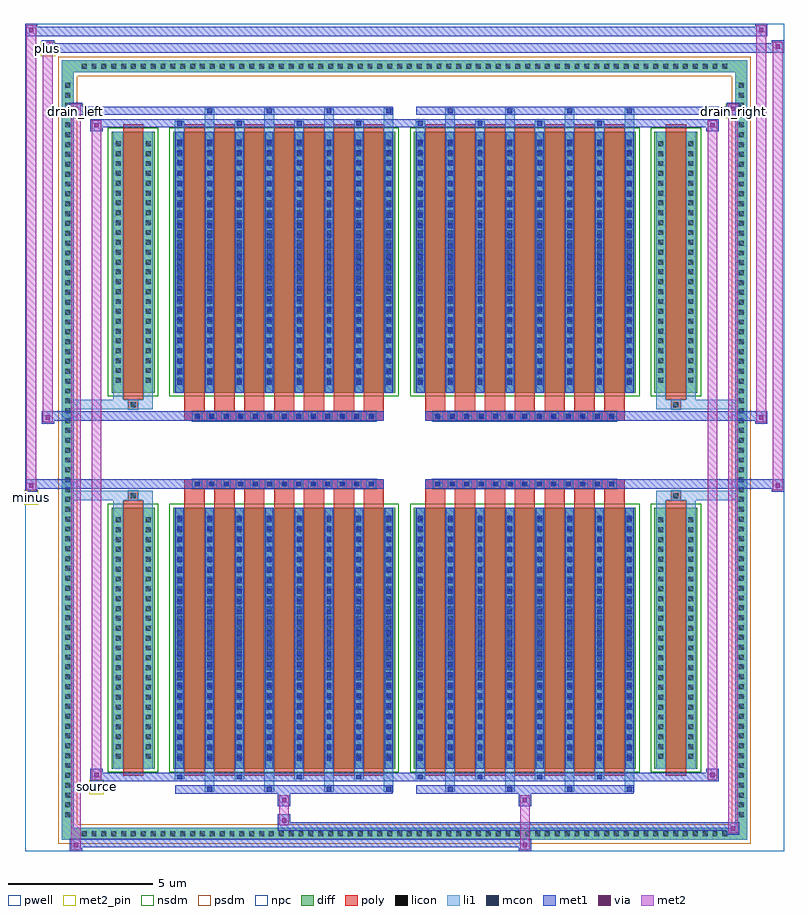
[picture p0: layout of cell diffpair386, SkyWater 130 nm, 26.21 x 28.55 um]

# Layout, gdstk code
import gdstk
lib = gdstk.Library(unit=1e-6, precision=5e-09)
def R(c, l, rs):  # rectangles x0, y0, x1, y1
    for r in rs: c.add(gdstk.rectangle(r[:2], r[2:], *l))
def A(c, l, x, y, w, h, nx, ny, dx, dy):  # array of equal rectangles
    R(c, l, [(x+i*dx, y+j*dy, x+i*dx+w, y+j*dy+h) for i in range(nx) for j in range(ny)])
def P(c, l, *ps):  # polygons
    for p in ps: c.add(gdstk.Polygon(p, *l))
pwell = (64, 44)
diff = (65, 20)
poly = (66, 20)
licon = (66, 44)
li1 = (67, 20)
mcon = (67, 44)
met1 = (68, 20)
via = (68, 44)
met2_pin = (69, 16)
met2 = (69, 20)
nsdm = (93, 44)
psdm = (94, 20)
npc = (95, 20)

diffpair386 = lib.new_cell('diffpair386')
R(diffpair386, pwell, [(-13.09,-13.84,13.09,14.71), (-10.41,-12.03,-0.01,-0.805), (0.01,-12.03,10.41,-0.805), (-10.41,0.805,-0.01,12.03), (0.01,0.805,10.41,12.03)])
A(diffpair386, diff, -11.255, -13.44, 0.41, 0.41, 66, 2, 0.34, 26.47)
A(diffpair386, diff, -11.82, -12.785, 0.41, 0.41, 1, 75, 0, 0.34)
A(diffpair386, diff, 11.41, -12.785, 0.41, 0.41, 1, 75, 0, 0.34)
R(diffpair386, diff, [(-11.255,-13.44,11.255,-13.03), (-11.82,-12.785,-11.41,12.785), (11.41,-12.785,11.82,12.785), (-10.1,-10.985,-8.62,-1.985), (-7.98,-10.985,-0.32,-1.985), (0.32,-10.985,7.98,-1.985), (8.62,-10.985,10.1,-1.985), (-10.1,1.985,-8.62,10.985), (-7.98,1.985,-0.32,10.985), (0.32,1.985,7.98,10.985), (8.62,1.985,10.1,10.985), (-11.255,13.03,11.255,13.44)])
P(diffpair386, diff, [(11.82,13.44),(-11.82,13.44),(-11.82,-13.03),(-11.41,-13.03),(-11.41,13.03),(11.41,13.03),(11.41,-13.03),(-11.41,-13.03),(-11.82,-13.03),(-11.82,-13.44),(11.82,-13.44)])
A(diffpair386, poly, -7.59, -11.235, 0.7, 9.5, 7, 2, 1.03, 12.97)
A(diffpair386, poly, 0.71, -11.235, 0.7, 9.5, 7, 2, 1.03, 12.97)
A(diffpair386, poly, -7.59, -1.735, 0.7, 0.4, 7, 2, 1.03, 3.07)
A(diffpair386, poly, 0.71, -1.735, 0.7, 0.4, 7, 2, 1.03, 3.07)
A(diffpair386, poly, -7.315, -1.335, 0.33, 0.33, 13, 2, 0.5, 2.34)
A(diffpair386, poly, 0.985, -1.335, 0.33, 0.33, 13, 2, 0.5, 2.34)
R(diffpair386, poly, [(-9.71,-11.235,-9.01,-1.735), (9.01,-11.235,9.71,-1.735), (-9.525,-1.735,-9.195,-1.405), (-9.525,-1.735,-9.195,-1.405), (9.195,-1.735,9.525,-1.405), (9.195,-1.735,9.525,-1.405), (-7.59,-1.335,-0.71,-1.005), (0.71,-1.335,7.59,-1.005), (-7.59,1.005,-0.71,1.335), (0.71,1.005,7.59,1.335), (-9.525,1.405,-9.195,1.735), (-9.525,1.405,-9.195,1.735), (9.195,1.405,9.525,1.735), (9.195,1.405,9.525,1.735), (-9.71,1.735,-9.01,11.235), (9.01,1.735,9.71,11.235)])
A(diffpair386, licon, -11.135, -13.32, 0.17, 0.17, 66, 2, 0.34, 26.47)
A(diffpair386, licon, -11.7, -12.665, 0.17, 0.17, 1, 75, 0, 0.34)
A(diffpair386, licon, 11.53, -12.665, 0.17, 0.17, 1, 75, 0, 0.34)
A(diffpair386, licon, -9.96, -10.65, 0.17, 0.17, 1, 25, 0, 0.34)
A(diffpair386, licon, -8.93, -10.65, 0.17, 0.17, 1, 25, 0, 0.34)
A(diffpair386, licon, -7.84, -10.65, 0.17, 0.17, 8, 25, 1.03, 0.34)
A(diffpair386, licon, 0.46, -10.65, 0.17, 0.17, 8, 25, 1.03, 0.34)
A(diffpair386, licon, 8.76, -10.65, 0.17, 0.17, 1, 25, 0, 0.34)
A(diffpair386, licon, 9.79, -10.65, 0.17, 0.17, 1, 25, 0, 0.34)
A(diffpair386, licon, -7.235, -1.255, 0.17, 0.17, 13, 2, 0.5, 2.34)
A(diffpair386, licon, 1.065, -1.255, 0.17, 0.17, 13, 2, 0.5, 2.34)
A(diffpair386, licon, -9.96, 2.32, 0.17, 0.17, 1, 25, 0, 0.34)
A(diffpair386, licon, -8.93, 2.32, 0.17, 0.17, 1, 25, 0, 0.34)
A(diffpair386, licon, -7.84, 2.32, 0.17, 0.17, 8, 25, 1.03, 0.34)
A(diffpair386, licon, 0.46, 2.32, 0.17, 0.17, 8, 25, 1.03, 0.34)
A(diffpair386, licon, 8.76, 2.32, 0.17, 0.17, 1, 25, 0, 0.34)
A(diffpair386, licon, 9.79, 2.32, 0.17, 0.17, 1, 25, 0, 0.34)
R(diffpair386, licon, [(-9.445,-1.655,-9.275,-1.485), (9.275,-1.655,9.445,-1.485), (-9.445,1.485,-9.275,1.655), (9.275,1.485,9.445,1.655)])
A(diffpair386, li1, -11.215, -13.4, 0.33, 0.33, 66, 2, 0.34, 26.47)
A(diffpair386, li1, -11.78, -12.745, 0.33, 0.33, 1, 75, 0, 0.34)
A(diffpair386, li1, 11.45, -12.745, 0.33, 0.33, 1, 75, 0, 0.34)
A(diffpair386, li1, -6.89, -11.79, 0.33, 0.805, 4, 2, 2.06, 22.775)
A(diffpair386, li1, -6.81, -11.79, 0.17, 0.17, 4, 2, 2.06, 23.41)
A(diffpair386, li1, 1.41, -11.79, 0.33, 0.805, 4, 2, 2.06, 22.775)
A(diffpair386, li1, 1.49, -11.79, 0.17, 0.17, 4, 2, 2.06, 23.41)
A(diffpair386, li1, -7.92, -11.36, 0.33, 0.375, 4, 2, 2.06, 22.345)
A(diffpair386, li1, -7.84, -11.36, 0.17, 0.17, 4, 2, 2.06, 22.55)
A(diffpair386, li1, 0.38, -11.36, 0.33, 0.375, 4, 2, 2.06, 22.345)
A(diffpair386, li1, 0.46, -11.36, 0.17, 0.17, 4, 2, 2.06, 22.55)
A(diffpair386, li1, -7.92, -10.985, 0.33, 9, 8, 2, 1.03, 12.97)
A(diffpair386, li1, 0.38, -10.985, 0.33, 9, 8, 2, 1.03, 12.97)
A(diffpair386, li1, -10.04, -10.73, 0.33, 0.33, 1, 25, 0, 0.34)
A(diffpair386, li1, -9.01, -10.73, 0.33, 0.33, 1, 25, 0, 0.34)
A(diffpair386, li1, -7.92, -10.73, 0.33, 0.33, 8, 25, 1.03, 0.34)
A(diffpair386, li1, 0.38, -10.73, 0.33, 0.33, 8, 25, 1.03, 0.34)
A(diffpair386, li1, 8.68, -10.73, 0.33, 0.33, 1, 25, 0, 0.34)
A(diffpair386, li1, 9.71, -10.73, 0.33, 0.33, 1, 25, 0, 0.34)
A(diffpair386, li1, -7.84, -10.71, 0.17, 0.17, 8, 24, 1.03, 0.36)
A(diffpair386, li1, -7.84, -10.71, 0.17, 8.45, 8, 2, 1.03, 12.97)
A(diffpair386, li1, 0.46, -10.71, 0.17, 0.17, 8, 24, 1.03, 0.36)
A(diffpair386, li1, 0.46, -10.71, 0.17, 8.45, 8, 2, 1.03, 12.97)
A(diffpair386, li1, -7.315, -1.335, 0.33, 0.33, 13, 2, 0.5, 2.34)
A(diffpair386, li1, 0.985, -1.335, 0.33, 0.33, 13, 2, 0.5, 2.34)
A(diffpair386, li1, -10.04, 2.24, 0.33, 0.33, 1, 25, 0, 0.34)
A(diffpair386, li1, -9.01, 2.24, 0.33, 0.33, 1, 25, 0, 0.34)
A(diffpair386, li1, -7.92, 2.24, 0.33, 0.33, 8, 25, 1.03, 0.34)
A(diffpair386, li1, 0.38, 2.24, 0.33, 0.33, 8, 25, 1.03, 0.34)
A(diffpair386, li1, 8.68, 2.24, 0.33, 0.33, 1, 25, 0, 0.34)
A(diffpair386, li1, 9.71, 2.24, 0.33, 0.33, 1, 25, 0, 0.34)
A(diffpair386, li1, -7.84, 2.26, 0.17, 0.17, 8, 24, 1.03, 0.36)
A(diffpair386, li1, 0.46, 2.26, 0.17, 0.17, 8, 24, 1.03, 0.36)
R(diffpair386, li1, [(-11.82,-13.44,-11.41,-13.03), (-11.82,-13.44,-11.41,-13.03), (-11.41,-13.44,11.41,-13.03), (11.41,-13.44,11.82,-13.03), (11.41,-13.44,11.82,-13.03), (-11.82,-13.03,-11.41,13.03), (11.41,-13.03,11.82,13.03), (-10.04,-10.985,-9.71,-1.985), (-9.01,-10.985,-8.68,-1.985), (8.68,-10.985,9.01,-1.985), (9.71,-10.985,10.04,-1.985), (-10.04,-1.985,-9.71,-1.405), (-9.01,-1.985,-8.68,-1.405), (8.68,-1.985,9.01,-1.405), (9.71,-1.985,10.04,-1.405), (-11.82,-1.735,-9.525,-1.405), (-10.04,-1.735,-9.525,-1.405), (-9.525,-1.735,-9.195,-1.405), (-9.195,-1.735,-8.68,-1.405), (8.68,-1.735,9.195,-1.405), (9.195,-1.735,9.525,-1.405), (9.195,-1.735,11.82,-1.405), (9.525,-1.735,10.04,-1.405), (-11.82,1.405,-9.525,1.735), (-10.04,1.405,-9.525,1.735), (-10.04,1.405,-9.71,1.985), (-9.525,1.405,-9.195,1.735), (-9.195,1.405,-8.68,1.735), (-9.01,1.405,-8.68,1.985), (8.68,1.405,9.195,1.735), (8.68,1.405,9.01,1.985), (9.195,1.405,9.525,1.735), (9.195,1.405,11.82,1.735), (9.525,1.405,10.04,1.735), (9.71,1.405,10.04,1.985), (-10.04,1.985,-9.71,10.985), (-9.01,1.985,-8.68,10.985), (8.68,1.985,9.01,10.985), (9.71,1.985,10.04,10.985), (-11.82,13.03,-11.41,13.44), (-11.82,13.03,-11.41,13.44), (-11.41,13.03,11.41,13.44), (11.41,13.03,11.82,13.44), (11.41,13.03,11.82,13.44)])
A(diffpair386, mcon, -6.81, -11.79, 0.17, 0.17, 4, 2, 2.06, 23.41)
A(diffpair386, mcon, 1.49, -11.79, 0.17, 0.17, 4, 2, 2.06, 23.41)
A(diffpair386, mcon, -7.84, -11.36, 0.17, 0.17, 4, 2, 2.06, 22.55)
A(diffpair386, mcon, 0.46, -11.36, 0.17, 0.17, 4, 2, 2.06, 22.55)
A(diffpair386, mcon, -7.84, -10.71, 0.17, 0.17, 8, 24, 1.03, 0.36)
A(diffpair386, mcon, 0.46, -10.71, 0.17, 0.17, 8, 24, 1.03, 0.36)
A(diffpair386, mcon, -7.235, -1.255, 0.17, 0.17, 13, 2, 0.5, 2.34)
A(diffpair386, mcon, 1.065, -1.255, 0.17, 0.17, 13, 2, 0.5, 2.34)
A(diffpair386, mcon, -7.84, 2.26, 0.17, 0.17, 8, 24, 1.03, 0.36)
A(diffpair386, mcon, 0.46, 2.26, 0.17, 0.17, 8, 24, 1.03, 0.36)
A(diffpair386, met1, -6.87, -11.85, 0.29, 0.29, 4, 2, 2.06, 23.41)
A(diffpair386, met1, 1.43, -11.85, 0.29, 0.29, 4, 2, 2.06, 23.41)
A(diffpair386, met1, -7.9, -11.42, 0.29, 0.29, 4, 2, 2.06, 22.55)
A(diffpair386, met1, 0.4, -11.42, 0.29, 0.29, 4, 2, 2.06, 22.55)
A(diffpair386, met1, -7.9, -10.985, 0.29, 9, 8, 2, 1.03, 12.97)
A(diffpair386, met1, 0.4, -10.985, 0.29, 9, 8, 2, 1.03, 12.97)
A(diffpair386, met1, -7.9, -10.77, 0.29, 0.29, 8, 24, 1.03, 0.36)
A(diffpair386, met1, 0.4, -10.77, 0.29, 0.29, 8, 24, 1.03, 0.36)
A(diffpair386, met1, -7.295, -1.315, 0.29, 0.29, 13, 2, 0.5, 2.34)
A(diffpair386, met1, 1.005, -1.315, 0.29, 0.29, 13, 2, 0.5, 2.34)
A(diffpair386, met1, -7.9, 2.2, 0.29, 0.29, 8, 24, 1.03, 0.36)
A(diffpair386, met1, 0.4, 2.2, 0.29, 0.29, 8, 24, 1.03, 0.36)
R(diffpair386, met1, [(-11.55,-13.84,-11.12,-13.41), (3.935,-13.84,4.365,-13.41), (-11.55,-13.7,4.365,-13.41), (11.12,-13.27,11.55,-12.84), (-4.365,-13.13,11.55,-12.84), (-4.365,-12.99,-3.935,-12.56), (-4.365,-12.28,-3.935,-11.85), (3.935,-12.28,4.365,-11.85), (-7.9,-11.85,-0.4,-11.56), (0.4,-11.85,7.9,-11.56), (-10.84,-11.42,-10.41,-10.99), (-10.84,-11.42,-7.9,-11.13), (-7.9,-11.42,-0.4,-11.13), (-0.4,-11.42,0.4,-11.13), (0.4,-11.42,7.9,-11.13), (7.9,-11.42,10.84,-11.13), (10.41,-11.42,10.84,-10.99), (-13.09,-1.435,-12.66,-1.005), (12.66,-1.435,13.09,-1.005), (-13.09,-1.335,-0.71,-1.005), (-7.59,-1.335,-0.71,-1.005), (0.71,-1.335,7.59,-1.005), (0.71,-1.335,13.09,-1.005), (-12.52,0.905,-12.09,1.335), (12.09,0.905,12.52,1.335), (-12.52,1.005,-7.59,1.335), (-7.59,1.005,-0.71,1.335), (0.71,1.005,7.59,1.335), (7.59,1.005,12.52,1.335), (-10.84,10.99,-10.41,11.42), (10.41,10.99,10.84,11.42), (-10.84,11.13,-7.9,11.42), (-7.9,11.13,-0.4,11.42), (-0.4,11.13,0.4,11.42), (0.4,11.13,7.9,11.42), (7.9,11.13,10.84,11.42), (-11.55,11.56,-11.12,11.99), (-11.55,11.56,-7.9,11.85), (-7.9,11.56,-0.4,11.85), (0.4,11.56,7.9,11.85), (7.9,11.56,11.55,11.85), (11.12,11.56,11.55,11.99), (-12.52,13.71,-12.09,14.14), (-12.52,13.71,-10.41,14.04), (-10.41,13.71,10.41,14.04), (10.41,13.71,13.09,14.04), (12.66,13.71,13.09,14.14), (-13.09,14.28,-12.66,14.71), (-13.09,14.28,-10.41,14.61), (-10.41,14.28,10.41,14.61), (10.41,14.28,12.52,14.61), (12.09,14.28,12.52,14.71)])
R(diffpair386, via, [(-11.41,-13.7,-11.26,-13.55), (4.075,-13.7,4.225,-13.55), (11.26,-13.13,11.41,-12.98), (-4.225,-12.85,-4.075,-12.7), (-4.225,-12.14,-4.075,-11.99), (4.075,-12.14,4.225,-11.99), (-10.7,-11.28,-10.55,-11.13), (10.55,-11.28,10.7,-11.13), (-12.95,-1.295,-12.8,-1.145), (12.8,-1.295,12.95,-1.145), (-12.38,1.045,-12.23,1.195), (12.23,1.045,12.38,1.195), (-10.7,11.13,-10.55,11.28), (10.55,11.13,10.7,11.28), (-11.41,11.7,-11.26,11.85), (11.26,11.7,11.41,11.85), (-12.38,13.85,-12.23,14), (12.8,13.85,12.95,14), (-12.95,14.42,-12.8,14.57), (12.23,14.42,12.38,14.57)])
R(diffpair386, met2_pin, [(-10.875,-11.87,-10.375,-11.37), (-13.125,-1.885,-12.625,-1.385), (-11.585,11.44,-11.085,11.94), (11.085,11.44,11.585,11.94), (-12.555,13.59,-12.055,14.09)])
R(diffpair386, met2, [(-11.5,-13.79,-11.17,-13.46), (-11.5,-13.79,-11.17,11.94), (3.985,-13.79,4.315,-13.46), (3.985,-13.46,4.315,-12.23), (11.17,-13.22,11.5,-12.89), (11.17,-13.22,11.5,11.94), (-4.315,-12.94,-3.985,-12.61), (-4.315,-12.61,-3.985,-12.23), (-4.315,-12.23,-3.985,-11.9), (3.985,-12.23,4.315,-11.9), (-10.79,-11.37,-10.46,-11.04), (-10.79,-11.37,-10.46,11.37), (10.46,-11.37,10.79,-11.04), (10.46,-11.37,10.79,11.37), (-13.04,-1.385,-12.71,-1.055), (-13.04,-1.385,-12.71,14.66), (12.71,-1.385,13.04,-1.055), (12.71,-1.385,13.04,14.09), (-12.47,0.955,-12.14,1.285), (-12.47,0.955,-12.14,14.09), (12.14,0.955,12.47,1.285), (12.14,0.955,12.47,14.66), (-10.79,11.04,-10.46,11.37), (10.46,11.04,10.79,11.37), (-11.5,11.61,-11.17,11.94), (11.17,11.61,11.5,11.94), (-12.47,13.76,-12.14,14.09), (12.71,13.76,13.04,14.09), (-13.04,14.33,-12.71,14.66), (12.14,14.33,12.47,14.66)])
P(diffpair386, met2, [(13.04,-1.385),(13.04,-1.385),(13.04,-1.055),(13.04,-1.055)],
  [(13.04,13.76),(13.04,13.76),(13.04,14.09),(13.04,14.09)],
  [(-12.71,-1.385),(-12.71,-1.385),(-12.71,-1.055),(-12.71,-1.055)],
  [(-12.71,14.33),(-12.71,14.33),(-12.71,14.66),(-12.71,14.66)],
  [(12.47,0.955),(12.47,0.955),(12.47,1.285),(12.47,1.285)],
  [(12.47,14.33),(12.47,14.33),(12.47,14.66),(12.47,14.66)],
  [(-12.14,0.955),(-12.14,0.955),(-12.14,1.285),(-12.14,1.285)],
  [(-12.14,13.76),(-12.14,13.76),(-12.14,14.09),(-12.14,14.09)],
  [(-11.17,-13.79),(-11.17,-13.79),(-11.17,-13.46),(-11.17,-13.46)],
  [(-11.17,11.61),(-11.17,11.61),(-11.17,11.94),(-11.17,11.94)],
  [(11.5,-13.22),(11.5,-13.22),(11.5,-12.89),(11.5,-12.89)],
  [(11.5,11.61),(11.5,11.61),(11.5,11.94),(11.5,11.94)],
  [(-10.46,-11.37),(-10.46,-11.37),(-10.46,-11.04),(-10.46,-11.04)],
  [(-10.46,11.04),(-10.46,11.04),(-10.46,11.37),(-10.46,11.37)],
  [(10.79,-11.37),(10.79,-11.37),(10.79,-11.04),(10.79,-11.04)],
  [(10.79,11.04),(10.79,11.04),(10.79,11.37),(10.79,11.37)])
R(diffpair386, nsdm, [(-10.23,-11.115,-8.49,-1.855), (-8.11,-11.115,-0.19,-1.855), (0.19,-11.115,8.11,-1.855), (8.49,-11.115,10.23,-1.855), (-10.23,1.855,-8.49,11.115), (-8.11,1.855,-0.19,11.115), (0.19,1.855,8.11,11.115), (8.49,1.855,10.23,11.115)])
P(diffpair386, psdm, [(11.95,13.57),(-11.95,13.57),(-11.95,-12.9),(-11.28,-12.9),(-11.28,12.9),(11.28,12.9),(11.28,-12.9),(-11.28,-12.9),(-11.95,-12.9),(-11.95,-13.57),(11.95,-13.57)])
A(diffpair386, npc, -7.335, -1.355, 0.37, 0.37, 13, 2, 0.5, 2.34)
A(diffpair386, npc, 0.965, -1.355, 0.37, 0.37, 13, 2, 0.5, 2.34)
R(diffpair386, npc, [(-9.545,-1.755,-9.175,-1.385), (9.175,-1.755,9.545,-1.385), (-7.335,-1.355,-6.465,-0.985), (-7.335,-1.355,-6.465,-0.985), (-6.835,-1.355,-5.965,-0.985), (-6.835,-1.355,-5.965,-0.985), (-6.335,-1.355,-5.465,-0.985), (-6.335,-1.355,-5.465,-0.985), (-5.835,-1.355,-4.965,-0.985), (-5.835,-1.355,-4.965,-0.985), (-5.335,-1.355,-4.465,-0.985), (-5.335,-1.355,-4.465,-0.985), (-4.835,-1.355,-3.965,-0.985), (-4.835,-1.355,-3.965,-0.985), (-4.335,-1.355,-3.465,-0.985), (-4.335,-1.355,-3.465,-0.985), (-3.835,-1.355,-2.965,-0.985), (-3.835,-1.355,-2.965,-0.985), (-3.335,-1.355,-2.465,-0.985), (-3.335,-1.355,-2.465,-0.985), (-2.835,-1.355,-1.965,-0.985), (-2.835,-1.355,-1.965,-0.985), (-2.335,-1.355,-1.465,-0.985), (-2.335,-1.355,-1.465,-0.985), (-1.835,-1.355,-0.965,-0.985), (-1.835,-1.355,-0.965,-0.985), (0.965,-1.355,1.835,-0.985), (0.965,-1.355,1.835,-0.985), (1.465,-1.355,2.335,-0.985), (1.465,-1.355,2.335,-0.985), (1.965,-1.355,2.835,-0.985), (1.965,-1.355,2.835,-0.985), (2.465,-1.355,3.335,-0.985), (2.465,-1.355,3.335,-0.985), (2.965,-1.355,3.835,-0.985), (2.965,-1.355,3.835,-0.985), (3.465,-1.355,4.335,-0.985), (3.465,-1.355,4.335,-0.985), (3.965,-1.355,4.835,-0.985), (3.965,-1.355,4.835,-0.985), (4.465,-1.355,5.335,-0.985), (4.465,-1.355,5.335,-0.985), (4.965,-1.355,5.835,-0.985), (4.965,-1.355,5.835,-0.985), (5.465,-1.355,6.335,-0.985), (5.465,-1.355,6.335,-0.985), (5.965,-1.355,6.835,-0.985), (5.965,-1.355,6.835,-0.985), (6.465,-1.355,7.335,-0.985), (6.465,-1.355,7.335,-0.985), (-7.335,0.985,-6.465,1.355), (-7.335,0.985,-6.465,1.355), (-6.835,0.985,-5.965,1.355), (-6.835,0.985,-5.965,1.355), (-6.335,0.985,-5.465,1.355), (-6.335,0.985,-5.465,1.355), (-5.835,0.985,-4.965,1.355), (-5.835,0.985,-4.965,1.355), (-5.335,0.985,-4.465,1.355), (-5.335,0.985,-4.465,1.355), (-4.835,0.985,-3.965,1.355), (-4.835,0.985,-3.965,1.355), (-4.335,0.985,-3.465,1.355), (-4.335,0.985,-3.465,1.355), (-3.835,0.985,-2.965,1.355), (-3.835,0.985,-2.965,1.355), (-3.335,0.985,-2.465,1.355), (-3.335,0.985,-2.465,1.355), (-2.835,0.985,-1.965,1.355), (-2.835,0.985,-1.965,1.355), (-2.335,0.985,-1.465,1.355), (-2.335,0.985,-1.465,1.355), (-1.835,0.985,-0.965,1.355), (-1.835,0.985,-0.965,1.355), (0.965,0.985,1.835,1.355), (0.965,0.985,1.835,1.355), (1.465,0.985,2.335,1.355), (1.465,0.985,2.335,1.355), (1.965,0.985,2.835,1.355), (1.965,0.985,2.835,1.355), (2.465,0.985,3.335,1.355), (2.465,0.985,3.335,1.355), (2.965,0.985,3.835,1.355), (2.965,0.985,3.835,1.355), (3.465,0.985,4.335,1.355), (3.465,0.985,4.335,1.355), (3.965,0.985,4.835,1.355), (3.965,0.985,4.835,1.355), (4.465,0.985,5.335,1.355), (4.465,0.985,5.335,1.355), (4.965,0.985,5.835,1.355), (4.965,0.985,5.835,1.355), (5.465,0.985,6.335,1.355), (5.465,0.985,6.335,1.355), (5.965,0.985,6.835,1.355), (5.965,0.985,6.835,1.355), (6.465,0.985,7.335,1.355), (6.465,0.985,7.335,1.355), (-9.545,1.385,-9.175,1.755), (9.175,1.385,9.545,1.755)])
diffpair386.add(gdstk.Label('minus', (-12.875,-1.635), layer=69, texttype=5))
diffpair386.add(gdstk.Label('drain_right', (11.335,11.69), layer=69, texttype=5))
diffpair386.add(gdstk.Label('drain_left', (-11.335,11.69), layer=69, texttype=5))
diffpair386.add(gdstk.Label('source', (-10.625,-11.62), layer=69, texttype=5))
diffpair386.add(gdstk.Label('plus', (-12.305,13.84), layer=69, texttype=5))

lib.write_gds('diffpair386.gds')
